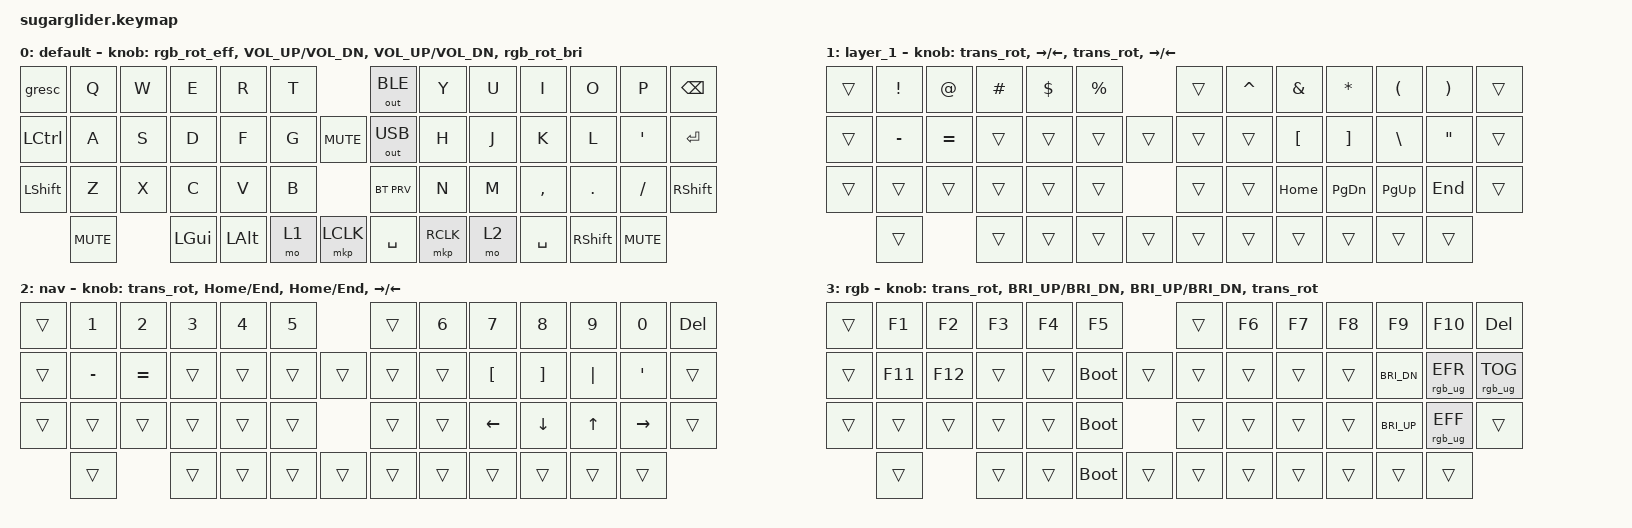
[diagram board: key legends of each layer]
/*
 * Copyright (c) 2024 The ZMK Contributors
 *
 * SPDX-License-Identifier: MIT
*/

#include <behaviors.dtsi>
#include <dt-bindings/zmk/bt.h>
#include <dt-bindings/zmk/keys.h>
#include <dt-bindings/zmk/mouse.h>
#include <dt-bindings/zmk/outputs.h>
#include <dt-bindings/zmk/rgb.h>

/* If you didn't build with one or more of the encoders, change the &sensors node to only include the one(s) you used. */
&sensors {
    sensors = <&left_encoder &middle_encoder &horizontal_encoder &right_encoder>;
};

/ {
    /* If you built with the larger OLED, use &wide_oled here instead. */
    chosen {
        zephyr,display = &oled;
    };

    conditional_layers {
        compatible = "zmk,conditional-layers";

        tri_layer {
            if-layers = <1 2>;
            then-layer = <3>;
        };
    };

    behaviors {
        trans_rot: encoder_rotation_0 {
            compatible = "zmk,behavior-sensor-rotate";
            #sensor-binding-cells = <0>;
            bindings = <&trans>, <&trans>;
        };

        rgb_rot_bri: encoder_rotation_1 {
            compatible = "zmk,behavior-sensor-rotate";
            #sensor-binding-cells = <0>;
            bindings = <&rgb_ug RGB_BRI>, <&rgb_ug RGB_BRD>;
        };

        rgb_rot_eff: encoder_rotation_2 {
            compatible = "zmk,behavior-sensor-rotate";
            #sensor-binding-cells = <0>;
            bindings = <&rgb_ug RGB_EFF>, <&rgb_ug RGB_EFR>;
        };
    };

    keymap {
        compatible = "zmk,keymap";
        default_layer {
            display-name = "default";
            bindings = <
        &gresc      &kp Q       &kp W  &kp E       &kp R       &kp T                           &out OUT_BLE  &kp Y     &kp U      &kp I      &kp O    &kp P      &kp BSPC
        &kp LCTRL   &kp A       &kp S  &kp D       &kp F       &kp G               &kp C_MUTE  &out OUT_USB  &kp H     &kp J      &kp K      &kp L    &kp SQT    &kp ENTER
        &kp LSHFT   &kp Z       &kp X  &kp C       &kp V       &kp B                           &bt BT_PRV    &kp N     &kp M      &kp COMMA  &kp DOT  &kp FSLH   &kp RSHFT
                    &kp C_MUTE         &kp LGUI    &kp LALT    &mo 1    &mkp LCLK  &kp SPACE   &mkp RCLK     &mo 2     &kp SPACE  &kp RSHFT           &kp C_MUTE
            >;
            sensor-bindings = <
                &rgb_rot_eff
                &inc_dec_kp C_VOL_UP C_VOL_DN
                &inc_dec_kp C_VOL_UP C_VOL_DN
                &rgb_rot_bri
            >;
        };

        layer_1 {
            bindings = <
                &trans  &kp EXCL   &kp AT     &kp HASH  &kp DLLR  &kp PRCNT                  &trans    &kp CARET  &kp AMPS  &kp STAR   &kp LPAR   &kp RPAR  &trans
                &trans  &kp MINUS  &kp EQUAL  &trans    &trans    &trans             &trans  &trans    &trans     &kp LBKT  &kp RBKT   &kp BSLH   &kp DQT   &trans
                &trans  &trans     &trans     &trans    &trans    &trans                     &trans    &trans     &kp HOME  &kp PG_DN  &kp PG_UP  &kp END   &trans
                        &trans                &trans    &trans    &trans     &trans  &trans  &trans    &trans     &trans    &trans              &trans
            >;
            sensor-bindings =<
                &trans_rot
                &inc_dec_kp RIGHT LEFT
                &trans_rot
                &inc_dec_kp RIGHT LEFT
            >;
        };

        layer_2 {
            display-name = "nav";
            bindings = <
                &trans  &kp N1     &kp N2     &kp N3  &kp N4  &kp N5                    &trans    &kp N6  &kp N7    &kp N8    &kp N9    &kp N0     &kp DEL
                &trans  &kp MINUS  &kp EQUAL  &trans  &trans  &trans            &trans  &trans    &trans  &kp LBKT  &kp RBKT  &kp PIPE  &kp SQT    &trans
                &trans  &trans     &trans     &trans  &trans  &trans                    &trans    &trans  &kp LEFT  &kp DOWN  &kp UP    &kp RIGHT  &trans
                        &trans                &trans  &trans  &trans    &trans  &trans  &trans    &trans  &trans    &trans              &trans
            >;
            sensor-bindings = <
                &trans_rot
                &inc_dec_kp HOME END
                &inc_dec_kp HOME END
                &inc_dec_kp RIGHT LEFT
            >;
        };

        layer_3 {
            display-name = "rgb";
            bindings = <
                &trans  &kp F1   &kp F2   &kp F3  &kp F4  &kp F5                         &trans    &kp F6  &kp F7  &kp F8    &kp F9        &kp F10          &kp DEL
                &trans  &kp F11  &kp F12  &trans  &trans  &bootloader            &trans  &trans    &trans  &trans  &trans    &kp C_BRI_DN  &rgb_ug RGB_EFR  &rgb_ug RGB_TOG
                &trans  &trans   &trans   &trans  &trans  &bootloader                    &trans    &trans  &trans  &trans    &kp C_BRI_UP  &rgb_ug RGB_EFF  &trans
                        &trans            &trans  &trans  &bootloader    &trans  &trans  &trans    &trans  &trans  &trans                  &trans
            >;
            sensor-bindings = <
                &trans_rot
                &inc_dec_kp C_BRI_UP C_BRI_DN
                &inc_dec_kp C_BRI_UP C_BRI_DN
                &trans_rot
            >;
        };
    };
};
